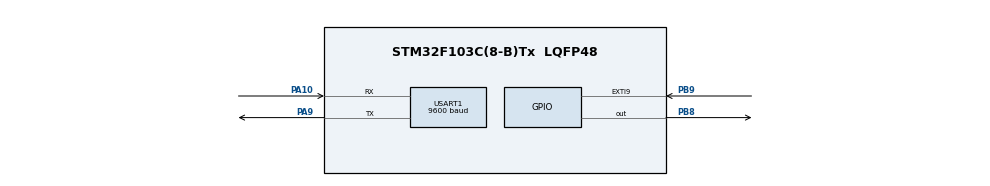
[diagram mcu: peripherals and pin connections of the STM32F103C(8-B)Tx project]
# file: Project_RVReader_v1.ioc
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Mcu.Family=STM32F1
Mcu.Name=STM32F103C(8-B)Tx
Mcu.Package=LQFP48
NVIC.EXTI9_5_IRQn=true\:0\:0\:false\:false\:true\:true\:true\:true
NVIC.PriorityGroup=NVIC_PRIORITYGROUP_4
NVIC.USART1_IRQn=true\:0\:0\:false\:false\:true\:true\:true\:true
PA10.Mode=Asynchronous
PA10.Signal=USART1_RX
PA13.Mode=Serial_Wire
PA13.Signal=SYS_JTMS-SWDIO
PA14.Mode=Serial_Wire
PA14.Signal=SYS_JTCK-SWCLK
PA9.Mode=Asynchronous
PA9.Signal=USART1_TX
PB8.Signal=GPIO_Output
PB9.GPIO_ModeDefaultEXTI=GPIO_MODE_IT_FALLING
PB9.GPIO_PuPd=GPIO_PULLUP
PB9.Signal=GPXTI9
ProjectManager.HeapSize=0x200
ProjectManager.StackSize=0x400
ProjectManager.TargetToolchain=STM32CubeIDE
RCC.APB1Freq_Value=8000000
RCC.APB2Freq_Value=8000000
USART1.BaudRate=9600
USART1.VirtualMode=VM_ASYNC
board=custom

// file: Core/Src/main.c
/* USER CODE BEGIN Header */
/**
 ******************************************************************************
 * @file           : main.c
 * @brief          : Ford EEC-IV Diagnostic Reader
 *
 * Description:
 * This firmware decodes diagnostic blink codes from Ford EEC-IV ECU.
 * The ECU outputs pulses (~1 second ON) with timing pauses indicating:
 *
 *   - Digits separated by ~4 seconds
 *   - Codes separated by ~6 seconds
 *
 * The firmware measures time between pulse edges via EXTI interrupt and sends
 * decoded events via UART in text format for PC / Diagnostic App.
 *
 * Hardware:
 *  - Input PB9
 *  - UART1 output to PC
 *
 * Protocol Output Examples:
 *   EV:READY
 *   EV:PULSE
 *   EV:DIGIT=2
 *   EV:CODE-END
 *   EV:SESSION-END
 *
 ******************************************************************************
 */
/* USER CODE END Header */
#include "main.h"

/* USER CODE BEGIN Includes */
#include "string.h"
#include <stdio.h>
/* USER CODE END Includes */

/* USER CODE BEGIN PTD */
typedef enum {
    WAITING_PULSES,
    WAITING_DIGIT_PAUSE,
    WAITING_CODE_PAUSE,
    SESSION_IDLE
} DecodeState;
/* USER CODE END PTD */

/* USER CODE BEGIN PD */
#define PULSE_ON_TIME    500U
#define BETWEEN_PULSES   500U
#define DIGIT_PAUSE      3000U   // пауза между цифрами
#define CODE_PAUSE       4000U   // пауза между кодами
#define SESSION_PAUSE    10000U  // конец сессии
#define DEBOUNCE_MS      100U    // антидребезг фронтов (минимум)
/* USER CODE END PD */

UART_HandleTypeDef huart1;

/* USER CODE BEGIN PV */
volatile uint32_t lastPulseTime = 0;
volatile uint8_t pulseCount = 0;
volatile uint8_t digitIndex = 0;
volatile uint8_t digits[2] = {0,0};
volatile DecodeState state = SESSION_IDLE;
/* USER CODE END PV */

void SystemClock_Config(void);
static void MX_GPIO_Init(void);
static void MX_USART1_UART_Init(void);
/* USER CODE BEGIN PFP */
void send_json(const char* eventName, int value);
void generateTestCode(uint8_t tens, uint8_t ones);
void HAL_GPIO_EXTI_Callback(uint16_t GPIO_Pin);
/* USER CODE END PFP */

int main(void)
{

  /* MCU Configuration--------------------------------------------------------*/

  /* Reset of all peripherals, Initializes the Flash interface and the Systick. */
  HAL_Init();

  /* Configure the system clock */
  SystemClock_Config();

  /* Initialize all configured peripherals */
  MX_GPIO_Init();
  MX_USART1_UART_Init();
  /* USER CODE BEGIN 2 */
  lastPulseTime = HAL_GetTick();
  /* USER CODE END 2 */

  /* Infinite loop */
  /* USER CODE BEGIN WHILE */
  while (1)
  {
	  /* USER CODE BEGIN 3 */
	  uint32_t now = HAL_GetTick();
	  uint32_t silence = now - lastPulseTime;

	  if(state == WAITING_DIGIT_PAUSE && silence >= 3000 && pulseCount > 0) {
		  // завершилась цифра
		  send_json("digit", pulseCount);
		  digits[digitIndex++] = pulseCount;
		  pulseCount = 0;

		  state = WAITING_CODE_PAUSE;
	  }

	  if(state == WAITING_CODE_PAUSE && silence >= 4000 && digitIndex > 0) {
		  int code = digits[0] * 10 + digits[1];
		  send_json("code", code);

		  // reset
		  digitIndex = 0;
		  digits[0] = digits[1] = 0;
		  pulseCount = 0;

		  state = WAITING_PULSES;
	  }

	  // end of session if >10s паузы
	  if(state != SESSION_IDLE && silence >= 10000 && digitIndex == 0 && pulseCount == 0) {
		  send_json("session_end", -1);
		  state = SESSION_IDLE;
	  }

	  HAL_Delay(25);
	  /* USER CODE END 3 */
  }
    /* USER CODE END WHILE */

    /* USER CODE BEGIN 3 */
	  uint32_t now = HAL_GetTick();
	  uint32_t silence = now - lastPulseTime;

	  if(state == WAITING_DIGIT_PAUSE && silence >= 3000 && pulseCount > 0) {
		  // завершилась цифра
		  send_json("digit", pulseCount);
		  digits[digitIndex++] = pulseCount;
		  pulseCount = 0;

		  state = WAITING_CODE_PAUSE;
	  }

	  if(state == WAITING_CODE_PAUSE && silence >= 4000 && digitIndex > 0) {
		  int code = digits[0] * 10 + digits[1];
		  send_json("code", code);

		  // reset
		  digitIndex = 0;
		  digits[0] = digits[1] = 0;
		  pulseCount = 0;

		  state = WAITING_PULSES;
	  }

	  // end of session if >10s паузы
	  if(state != SESSION_IDLE && silence >= 10000 && digitIndex == 0 && pulseCount == 0) {
		  send_json("session_end", -1);
		  state = SESSION_IDLE;
	  }

	  HAL_Delay(25);
  /* USER CODE END 3 */
}

void SystemClock_Config(void)
{
  RCC_OscInitTypeDef RCC_OscInitStruct = {0};
  RCC_ClkInitTypeDef RCC_ClkInitStruct = {0};

  /** Initializes the RCC Oscillators according to the specified parameters
  * in the RCC_OscInitTypeDef structure.
  */
  RCC_OscInitStruct.OscillatorType = RCC_OSCILLATORTYPE_HSI;
  RCC_OscInitStruct.HSIState = RCC_HSI_ON;
  RCC_OscInitStruct.HSICalibrationValue = RCC_HSICALIBRATION_DEFAULT;
  RCC_OscInitStruct.PLL.PLLState = RCC_PLL_NONE;
  if (HAL_RCC_OscConfig(&RCC_OscInitStruct) != HAL_OK)
  {
    Error_Handler();
  }

  /** Initializes the CPU, AHB and APB buses clocks
  */
  RCC_ClkInitStruct.ClockType = RCC_CLOCKTYPE_HCLK|RCC_CLOCKTYPE_SYSCLK
                              |RCC_CLOCKTYPE_PCLK1|RCC_CLOCKTYPE_PCLK2;
  RCC_ClkInitStruct.SYSCLKSource = RCC_SYSCLKSOURCE_HSI;
  RCC_ClkInitStruct.AHBCLKDivider = RCC_SYSCLK_DIV1;
  RCC_ClkInitStruct.APB1CLKDivider = RCC_HCLK_DIV1;
  RCC_ClkInitStruct.APB2CLKDivider = RCC_HCLK_DIV1;

  if (HAL_RCC_ClockConfig(&RCC_ClkInitStruct, FLASH_LATENCY_0) != HAL_OK)
  {
    Error_Handler();
  }
}

static void MX_USART1_UART_Init(void)
{

  huart1.Instance = USART1;
  huart1.Init.BaudRate = 9600;
  huart1.Init.WordLength = UART_WORDLENGTH_8B;
  huart1.Init.StopBits = UART_STOPBITS_1;
  huart1.Init.Parity = UART_PARITY_NONE;
  huart1.Init.Mode = UART_MODE_TX_RX;
  huart1.Init.HwFlowCtl = UART_HWCONTROL_NONE;
  huart1.Init.OverSampling = UART_OVERSAMPLING_16;
  if (HAL_UART_Init(&huart1) != HAL_OK)
  {
    Error_Handler();
  }

}

static void MX_GPIO_Init(void)
{
  GPIO_InitTypeDef GPIO_InitStruct = {0};

  /* GPIO Ports Clock Enable */
  __HAL_RCC_GPIOA_CLK_ENABLE();
  __HAL_RCC_GPIOB_CLK_ENABLE();

  /*Configure GPIO pin Output Level */
  HAL_GPIO_WritePin(GPIOB, GPIO_PIN_8, GPIO_PIN_RESET);

  /*Configure GPIO pin : PB8 */
  GPIO_InitStruct.Pin = GPIO_PIN_8;
  GPIO_InitStruct.Mode = GPIO_MODE_OUTPUT_PP;
  GPIO_InitStruct.Pull = GPIO_NOPULL;
  GPIO_InitStruct.Speed = GPIO_SPEED_FREQ_LOW;
  HAL_GPIO_Init(GPIOB, &GPIO_InitStruct);

  /*Configure GPIO pin : PB9 */
  GPIO_InitStruct.Pin = GPIO_PIN_9;
  GPIO_InitStruct.Mode = GPIO_MODE_IT_FALLING;
  GPIO_InitStruct.Pull = GPIO_PULLUP;
  HAL_GPIO_Init(GPIOB, &GPIO_InitStruct);

  /* EXTI interrupt init*/
  HAL_NVIC_SetPriority(EXTI9_5_IRQn, 0, 0);
  HAL_NVIC_EnableIRQ(EXTI9_5_IRQn);

}

/* USER CODE BEGIN 4 */
void send_json(const char* eventName, int value){
    char b[64];
    if(value >= 0)
        sprintf(b, "{\"event\":\"%s\",\"value\":%d,\"t\":%lu}\r\n", eventName, value, HAL_GetTick());
    else
        sprintf(b, "{\"event\":\"%s\",\"t\":%lu}\r\n", eventName, HAL_GetTick());

    HAL_UART_Transmit(&huart1,(uint8_t*)b,strlen(b),100);
}

/**
 * @brief EXTI interrupt handler for diagnostic pulse signal.
 * Called automatically on PB9 rising edge.
 */
void HAL_GPIO_EXTI_Callback(uint16_t GPIO_Pin)
{
    if(GPIO_Pin != GPIO_PIN_9) return;

    uint32_t now = HAL_GetTick();
    uint32_t silence = now - lastPulseTime;
    lastPulseTime = now;

    // debounce (<100ms — шум)
    if(silence < 100) return;

    if(state == SESSION_IDLE) {
		state = WAITING_PULSES;
        digitIndex = 0;
        pulseCount = 0;
        digits[0] = digits[1] = 0;
    }

    pulseCount++;
    send_json("pulse", pulseCount);

    state = WAITING_DIGIT_PAUSE;
}
/* USER CODE END 4 */

void Error_Handler(void)
{
  __disable_irq();
  while (1)
  {
  }
}
